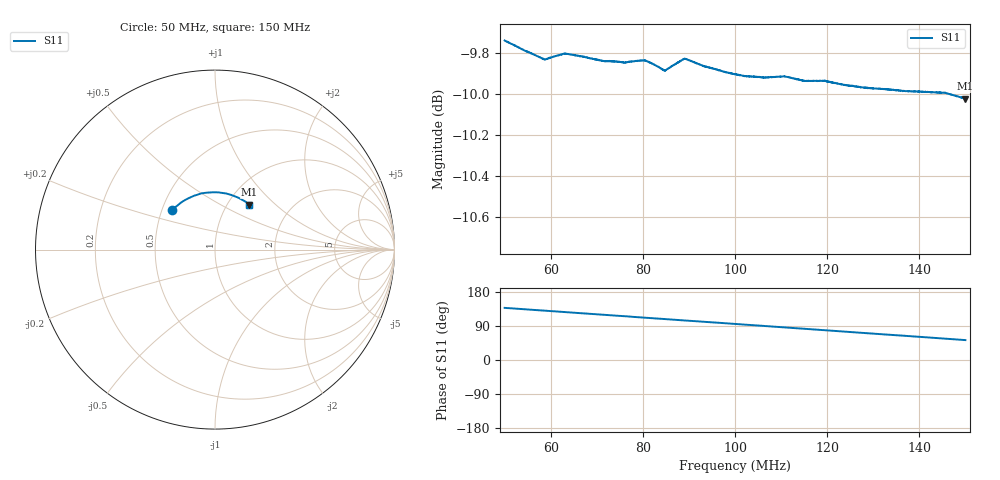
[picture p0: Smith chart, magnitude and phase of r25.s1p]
! COPPER MOUNTAIN TECHNOLOGIES, PLANAR TR1300/1, 00090118, 19.1.1/1.0
! Date: 11/26/2019 3:46:23 PM
! Data: Format [Calibration Info]
! Freq  S11: Re/Im F1
# HZ S RI R 50
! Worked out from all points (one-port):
!   2001 points, 50 MHz to 150 MHz, reference 50 ohm
!   lowest |S11| = -10.0 dB at 150 MHz (marker M1), VSWR 1.92, Z = 62.9 + j35 ohm
!   |S11| at or under -10 dB: 146.3934 MHz to 146.6497 MHz (256.2 kHz wide, 0.175 % of centre); 146.7 MHz to end of sweep
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5e7  -0.2406 0.2198
5.05e7  -0.2387 0.2215
5.44e7  -0.2237 0.2344
5.85e7  -0.2089 0.2457
6.25e7  -0.1932 0.2592
6.355e7  -0.1892 0.2623
6.73e7  -0.1753 0.2711
7.135e7  -0.1571 0.2812
7.5e7  -0.1432 0.2884
7.645e7  -0.1374 0.2911
8.03e7  -0.1185 0.2996
8.465e7  -0.1003 0.3043
8.75e7  -0.0872 0.3098
8.91e7  -0.0796 0.3125
9.095e7  -0.071 0.314
9.57e7  -0.0492 0.3169
1e8  -0.0288 0.3185
1.0785e8  0.00818 0.3191
1.1055e8  0.021 0.3187
1.125e8  0.0303 0.3176
1.193e8  0.0622 0.3124
1.25e8  0.0884 0.3052
1.311e8  0.1155 0.2954
1.375e8  0.1423 0.2829
1.417e8  0.1599 0.2732
1.4525e8  0.1744 0.2641
1.4945e8  0.1898 0.252
1.5e8  0.1918 0.2504
